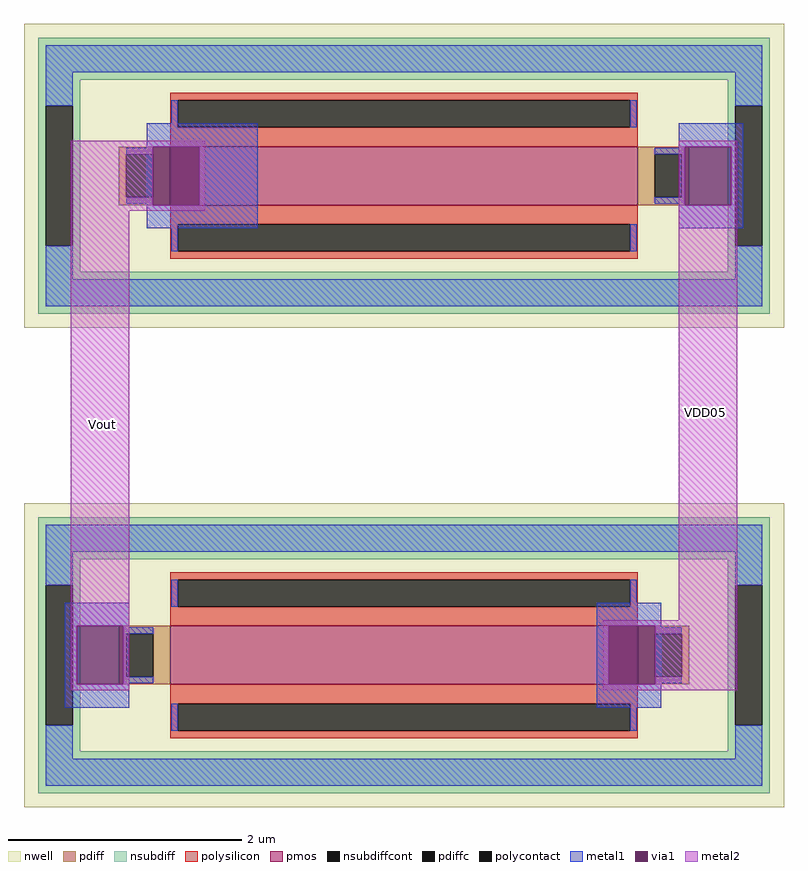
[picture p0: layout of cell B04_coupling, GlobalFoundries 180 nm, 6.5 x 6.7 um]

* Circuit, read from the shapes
.subckt B04_coupling VDD05 Vout
XM1 VDD05 VDD05 Vout Vout pfet_03v3 w=0.5u l=4u
XM2 VDD05 Vout Vout VDD05 pfet_03v3 w=0.5u l=4u
.ends

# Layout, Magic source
magic
tech gf180mcuD
<< metal1 >>
rect 11 117 30 121
rect 11 107 12 117
rect 20 107 30 117
rect 11 103 30 107
rect 102 117 113 121
rect 102 107 103 117
rect 111 107 113 117
rect 102 103 113 107
rect -3 35 8 39
rect -3 25 -1 35
rect 7 25 8 35
rect -3 21 8 25
rect 88 35 99 39
rect 88 25 90 35
rect 98 25 99 35
rect 88 21 99 25
<< via1 >>
rect 12 107 20 117
rect 103 107 111 117
rect -1 25 7 35
rect 90 25 98 35
<< metal2 >>
rect -2 117 21 118
rect -2 107 12 117
rect 20 107 21 117
rect -2 106 21 107
rect 102 117 112 118
rect 102 107 103 117
rect 111 107 112 117
rect -2 35 8 106
rect 102 36 112 107
rect -2 25 -1 35
rect 7 25 8 35
rect -2 24 8 25
rect 89 35 112 36
rect 89 25 90 35
rect 98 25 112 35
rect 89 24 112 25
use pfet_03v3_U5KMRZ  pfet_03v3_U5KMRZ_0
transform 1 0 55 0 1 30
box -65 -26 65 26
use pfet_03v3_U5KMRZ  pfet_03v3_U5KMRZ_1
transform 1 0 55 0 1 112
box -65 -26 65 26
<< labels >>
flabel metal2 102 70 111 73 0 FreeSans 160 0 0 0 VDD05
port 0 nsew
flabel metal2 -1 68 8 71 0 FreeSans 160 0 0 0 Vout
port 1 nsew
<< end >>

# cell pfet_03v3_U5KMRZ: kit device pfet_03v3, w 0.5 l 4 m 1 nf 1 diffcov 100 polycov 100 guard 1 glc 1 grc 1 gtc 0 gbc 0 tbcov 100 rlcov 100 topc 1 botc 1 poverlap 0 doverlap 1 lmin 0.28 wmin 0.22 class mosfet full_metal 1 compatible {pfet_03v3 pfet_05v0 pfet_06v0}
